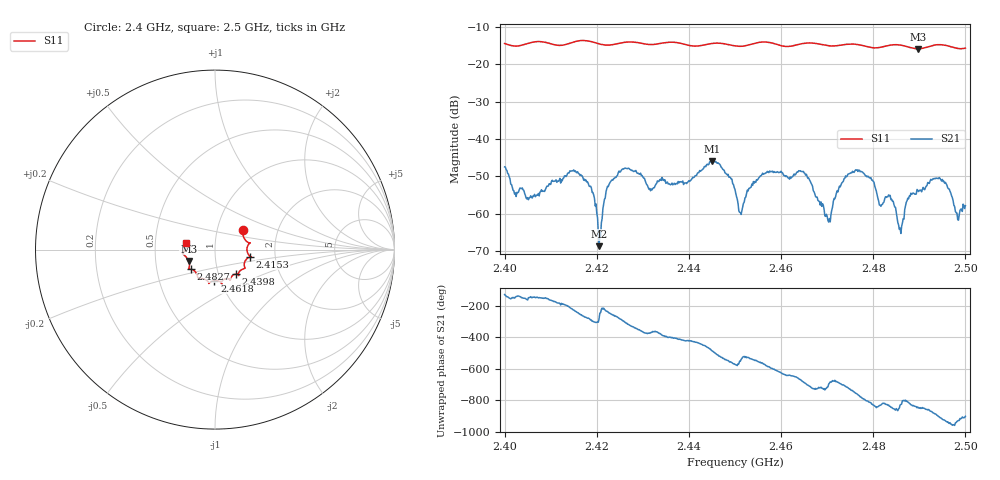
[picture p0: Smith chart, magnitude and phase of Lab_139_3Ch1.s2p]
# Hz S RI R 50
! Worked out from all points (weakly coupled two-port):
!   601 points, 2.4 GHz to 2.5 GHz, reference 50 ohm
!   highest |S21| = -45.94 dB at 2.445 GHz (marker M1); lowest = -68.7 dB at 2.4205 GHz (marker M2)
!   lowest |S11| = -15.9 dB at 2.4897 GHz (marker M3), VSWR 1.38, Z = 36.9 - j4.81 ohm
!   |S11| at or under -10 dB: start of sweep to end of sweep
!   S12 and S22 are empty: the file has one direction only
!   S11 on the Smith chart (normalised r, x): 2.4 GHz: 1.33, +0.29; 2.4153 GHz: 1.48, -0.12; 2.4398 GHz: 1.21, -0.34; 2.4618 GHz: 0.94, -0.33; 2.4827 GHz: 0.75, -0.17; 2.5 GHz: 0.72, +0.06
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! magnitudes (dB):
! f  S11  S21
! 2.4 GHz  -14.5  -47.5
! 2.4052 GHz  -14.4  -56.3
! 2.4153 GHz  -14.0  -48.5
! 2.4167 GHz  -13.7  -49.8
! 2.4205 GHz  -14.6  -68.7
! 2.4252 GHz  -14.4  -48.8
! 2.4333 GHz  -14.6  -51.4
! 2.4398 GHz  -15.0  -51.4
! 2.445 GHz  -14.5  -45.9
! 2.45 GHz  -15.1  -53.5
! 2.4513 GHz  -15.2  -60.2
! 2.4558 GHz  -14.1  -49.5
! 2.4618 GHz  -15.3  -50.8
! 2.4667 GHz  -14.4  -52.2
! 2.4702 GHz  -15.1  -61.8
! 2.476 GHz  -14.7  -48.6
! 2.4827 GHz  -15.2  -55.5
! 2.4833 GHz  -15.0  -55.0
! 2.4858 GHz  -14.9  -63.8
! 2.4897 GHz  -15.9  -53.8
! 2.4942 GHz  -14.8  -50.6
! 2.5 GHz  -15.7  -57.8
